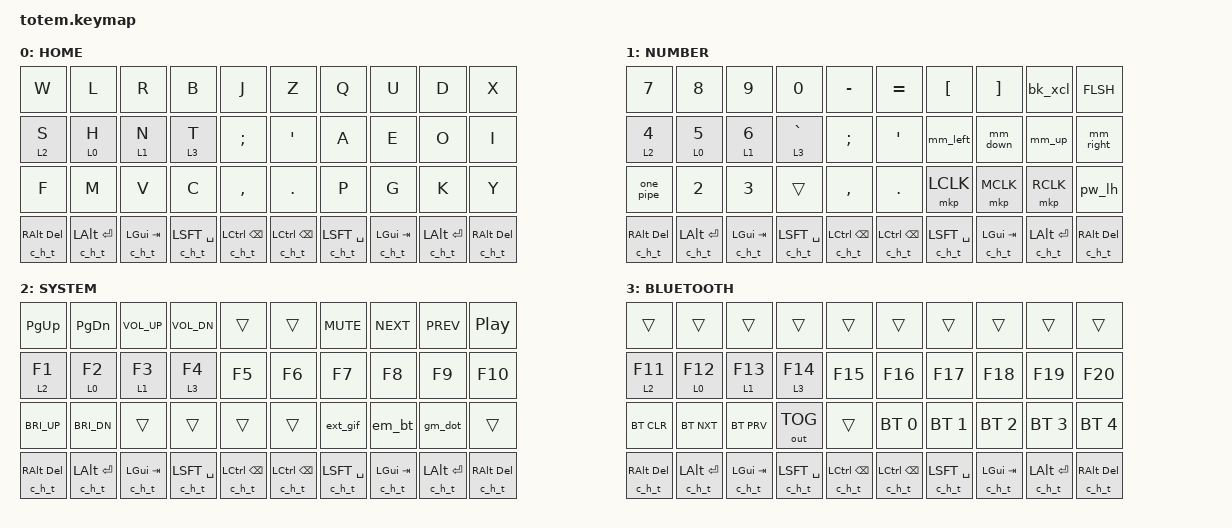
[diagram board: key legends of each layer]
//
//                                                        ▀▀▀▀▀     ▀▀▀▀▀          ▀▀█▀▀
//                                                        ▄▀▀▀▄  ▄  ▄▀▀▀▄  ▄  ▄▀▀▀▄  █  ▄▀▀▀▄
//                                                        █   █  █  █   █  █  █   █  █  █   █
//                                                         ▀▀▀   █   ▀▀▀   █   ▀▀▀   ▀   ▀▀▀
//                                                               █      ▄▄▄█▄▄▄    █   █  
//                                                               ▀      █  █  █     █▄█
//                                                             ▀▀▀▀▀    █  █  █      ▀
//                                                                      ▀  ▀  ▀
//

#include <behaviors.dtsi>
#include <dt-bindings/zmk/keys.h>
#include <dt-bindings/zmk/bt.h>
#include <dt-bindings/zmk/outputs.h>

#define HOME_LAYER 0
#define NUMBER_LAYER 1
#define SYSTEM_LAYER 2
#define BLUETOOTH_LAYER 3



/ {
    combos {
            compatible = "zmk,combos";
            
                
        combo_left_esc {
                timeout-ms = <50>;
                key-positions = <00 01>;
                bindings = <&kp ESC>;
        
            };

        combo_left_sys_reset {
            timeout-ms = <50>;
            key-positions = <00 20>;
            bindings = <&sys_reset>;

            };

        combo_left_bootloader {
            timeout-ms = <50>;
            key-positions = <04 24>;
            bindings = <&bootloader>;
            
            };

        combo_right_bootloader {
            timeout-ms = <50>;
            key-positions = <05 25>;
            bindings = <&bootloader>;
            
            };

        combo_right_sys_reset {
            timeout-ms = <50>;
            key-positions = <09 29>;
            bindings = <&sys_reset>;
        
        };

        combo_right_esc {
            timeout-ms = <50>;
            key-positions = <08 09>;
            bindings = <&kp ESC>;
            };
    };

    macros {
       

        gm_dot: gmail_with_a_dot {
            compatible = "zmk,behavior-macro";
            #binding-cells = <0>;
            wait-ms = <20>;
            tap-ms = <20>;
            bindings = <
                &kp D &kp A &kp V &kp I &kp D &kp DOT &kp L &kp E &kp D &kp G &kp E &kp R &kp W &kp O &kp O &kp D &kp N1 &kp N6 &kp N5
                &kp AT
                &kp G &kp M &kp A &kp I &kp L &kp DOT &kp C &kp O &kp M>;
        };

    
        ext_gif: dot: gif {
            compatible = "zmk,behavior-macro";
            #binding-cells = <0>;
            wait-ms = <20>;
            tap-ms = <20>;
            bindings = <&kp DOT &kp G &kp I &kp F>;
        };

        em_bt: bt_email {
            compatible = "zmk,behavior-macro";
            #binding-cells = <0>;
            wait-ms = <20>;
            tap-ms = <20>;
            bindings = <
                &kp D &kp A &kp V &kp I &kp D &kp L &kp E &kp D &kp G &kp E &kp R &kp W &kp O &kp O &kp D &kp N1 &kp N6 &kp N5
                &kp AT
                &kp B &kp T &kp I &kp N &kp T &kp E &kp R &kp N &kp E &kp T &kp DOT &kp C &kp O &kp M>;
        };

        pw_lh: password_lh {
            compatible = "zmk,behavior-macro";
            #binding-cells = <0>;
            wait-ms = <20>;
            tap-ms = <20>;
            bindings = 
                <&macro_press &kp LSHFT>,
                <&macro_tap &kp L>,
                <&macro_release &kp LSHFT>,
                <&macro_tap &kp I &kp L &kp L &kp Y >,
                <&macro_tap &kp P &kp A &kp S &kp S>,
                <&macro_press &kp LSHFT>,
                <&macro_press &kp N7>,
                <&macro_release &kp LSHFT>,
                <&macro_tap &kp N1 &kp N2 &kp N3 &kp N4>,
                <&macro_press &kp LSHFT>,
                <&macro_tap &kp H>,
                <&macro_release &kp LSHFT>,
                <&macro_tap &kp A &kp R &kp R &kp Y>;
                
        };
    };

    behaviors {
         mm_left: mm_left {
            compatible = "zmk,behavior-mod-morph";
            #binding-cells = <0>;
            bindings = <&mmv MOVE_LEFT>, <&kp LEFT>;
            mods = <(MOD_LSFT|MOD_LCTL)>;
        };
         mm_down: mm_down {
            compatible = "zmk,behavior-mod-morph";
            #binding-cells = <0>;
            bindings = <&mmv MOVE_DOWN>, <&kp DOWN>;
            mods = <(MOD_LSFT|MOD_LCTL)>;
        };
         mm_up: mm_up {
            compatible = "zmk,behavior-mod-morph";
            #binding-cells = <0>;
            bindings = <&mmv MOVE_UP>, <&kp UP>;
            mods = <(MOD_LSFT|MOD_LCTL)>;
        };
         mm_right: mm_right {
            compatible = "zmk,behavior-mod-morph";
            #binding-cells = <0>;
            bindings = <&mmv MOVE_RIGHT>, <&kp RIGHT>;
            mods = <(MOD_LSFT|MOD_LCTL)>;
        };
        t_l_t_kp: toggle_layer_tap_keypress {
                compatible = "zmk,behavior-hold-tap";
                #binding-cells = <2>;
                flavor = "hold-preferred";
                tapping-term-ms =<300>;
                bindings = <&to>, <&kp>;
        };

        c_h_t: custom_hold_tap {
                compatible = "zmk,behavior-hold-tap";
                #binding-cells = <2>;
                flavor = "balanced";
                tapping-term-ms =<170>;
                quick-tap-ms = <100>
                bindings = <&kp>, <&kp>; 
        };

        one_pipe: one_pipe {
                compatible = "zmk,behavior-hold-tap";
                #binding-cells = <0>;
                bindings = <&kp N1>, <&kp PIPE>;
                keep-mods = <0>;
                mods = <(MOD_LSFT)>;
        };

        bk_xcl: backslash_shriek {
                compatible = "zmk,behavior-hold-tap";
                #binding-cells = <0>;
                bindings = <&kp BACKSLASH>, <&kp EXCLAMATION>;
                keep-mods = <0>;
                mods = <(MOD_LSFT)>;
        }
    }

        keymap {
                compatible = "zmk,keymap";

                home_layer {
// ┏━━━━━━━━━━━━━━━━━━━━━━━━━━━━━━━━━━━━━━━┓
label= "HOME"                              ;
// ┗━━━━━━━━━━━━━━━━━━━━━━━━━━━━━━━━━━━━━━━┛
//             ┏━━━━━━━━━━━┳━━━━━━━━━━━┳━━━━━━━━━━━┳━━━━━━━━━━━┳━━━━━━━━━━━┓   ┃      Z    ┃   Q       ┃     U     ┃     D     ┃   X       ┃
//             ┃      W    ┃     L     ┃    R      ┃     B     ┃     J     ┃   ┃      Z    ┃   Q       ┃     U     ┃     D     ┃   X       ┃
//             ┣━━━━━━━━━━━╋━━━━━━━━━━━╋━━━━━━━━━━━╋━━━━━━━━━━━╋━━━━━━━━━━━┫   ┃    APOS   ┃   A       ┃     E     ┃     I     ┃     O     ┃
//             ┃      S    ┃     H     ┃    N      ┃     T     ┃   ;       ┃   ┃    APOS   ┃   A       ┃     E     ┃     I     ┃     O     ┃
// ┏━━━━━━━━━━━╋━━━━━━━━━━━╋━━━━━━━━━━━╋━━━━━━━━━━━╋━━━━━━━━━━━╋━━━━━━━━━━━┫   ┃   .       ┃   P       ┃     G     ┃    K      ┃    Y      ┃           ┃
// ┃           ┃      F    ┃     M     ┃    V      ┃     C     ┃    ,      ┃   ┃   .       ┃   P       ┃     G     ┃    K      ┃    Y      ┃           ┃
// ┗━━━━━━━━━━━┻━━━━━━━━━━━┻━━━━━━━━━━━╋━━━━━━━━━━━╋━━━━━━━━━━━╋━━━━━━━━━━━┫   ┃  RGUI BSP ┃RSHFT SPACE┃ LCTRL TAB ┃ALT RET     sys_reset
//               sys_reset   ALT RET   ┃ LCTRL TAB ┃RSHFT SPACE┃ RGUI BSP  ┃   ┃  RGUI BSP ┃RSHFT SPACE┃ LCTRL TAB ┃ALT RET     sys_reset
//                                   ┗━━━━━━━━━━━┻━━━━━━━━━━━┻━━━━━━━━━━━┛   ┗━━━━━━━━━━━┻━━━━━━━━━━━┻━━━━━━━━━━━┛
 bindings = <
// ╷           ╷             ╷             ╷               ╷                 ╷           ╷     ╷             ╷               ╷             ╷             ╷           ╷

                &kp W            &kp L            &kp R            &kp B              &kp J              &kp Z              &kp Q              &kp U            &kp D            &kp X
                &t_l_t_kp 2 S    &t_l_t_kp 0 H    &t_l_t_kp 1 N    &t_l_t_kp 3 T      &kp SEMI           &kp APOS           &kp A              &kp E            &kp O            &kp I  
                &kp F            &kp M            &kp  V           &kp C              &kp COMMA          &kp DOT            &kp P              &kp G            &kp K            &kp Y
                &c_h_t RALT DEL  &c_h_t LALT RET  &c_h_t LGUI TAB  &c_h_t LSFT SPACE  &c_h_t LCTRL BSPC  &c_h_t LCTRL BSPC  &c_h_t LSFT SPACE  &c_h_t LGUI TAB  &c_h_t LALT RET  &c_h_t RALT DEL   
                          >;
                };

// ▄▄▄▄▄▄▄▄▄▄▄▄▄▄▄▄▄▄▄▄▄▄▄▄▄▄▄▄▄▄▄▄▄▄▄▄▄▄▄▄▄▄▄▄▄▄▄▄▄▄▄▄▄▄▄▄▄▄▄▄▄▄▄▄▄▄▄▄▄▄▄▄▄▄▄▄▄▄▄▄▄▄▄▄▄▄▄▄▄▄▄▄▄▄▄▄


                number_layer {
// ┏━━━━━━━━━━━━━━━━━━━━━━━━━━━━━━━━━━━━━━━┓
label= "NUMBER"                              ;
// ┗━━━━━━━━━━━━━━━━━━━━━━━━━━━━━━━━━━━━━━━┛
//             ┏━━━━━━━━━━━┳━━━━━━━━━━━┳━━━━━━━━━━━┳━━━━━━━━━━━┳━━━━━━━━━━━┓   ┃   trans   ┃    BKT    ┃   RBKT    ┃   BSLH    ┃   FLSH    ┃
//             ┃     7     ┃     8     ┃     9     ┃    0      ┃   trans   ┃   ┃   trans   ┃    BKT    ┃   RBKT    ┃   BSLH    ┃   FLSH    ┃
//             ┣━━━━━━━━━━━╋━━━━━━━━━━━╋━━━━━━━━━━━╋━━━━━━━━━━━╋━━━━━━━━━━━┫   ┃   trans   ┃   LEFT    ┃    UP     ┃    DN     ┃   RIGHT   ┃
//             ┃     4     ┃     5     ┃     6     ┃btooth/grave ┃ trans   ┃   ┃   trans   ┃   LEFT    ┃    UP     ┃    DN     ┃   RIGHT   ┃
// ┏━━━━━━━━━━━╋━━━━━━━━━━━╋━━━━━━━━━━━╋━━━━━━━━━━━╋━━━━━━━━━━━╋━━━━━━━━━━━┫   ┃   trans   ┃   EQUAL   ┃   MINUS   ┃     &gif  ┃    ESC    ┃           ┃
// ┃           ┃     1     ┃     2     ┃     3     ┃   trans   ┃   trans   ┃   ┃   trans   ┃   EQUAL   ┃   MINUS   ┃     &gif  ┃    ESC    ┃           ┃
// ┗━━━━━━━━━━━┻━━━━━━━━━━━┻━━━━━━━━━━━╋━━━━━━━━━━━╋━━━━━━━━━━━╋━━━━━━━━━━━┫   ┃   trans   ┃   trans   ┃   trans   ┃   trans      trans
//                 trans      trans    ┃   trans   ┃   trans   ┃   trans   ┃   ┃   trans   ┃   trans   ┃   trans   ┃   trans      trans
//                                     ┗━━━━━━━━━━━┻━━━━━━━━━━━┻━━━━━━━━━━━┛   ┗━━━━━━━━━━━┻━━━━━━━━━━━┻━━━━━━━━━━━┛
 bindings = <
// ╷           ╷             ╷            ╷              ╷                    ╷      ╷  ╷          ╷          ╷          ╷           ╷           ╷

                &kp N7          &kp N8           &kp N9           &kp N0              &kp MINUS         &kp EQUAL         &kp LBKT          &kp RBKT         &bk_xcl           &kp FLSH 
                &t_l_t_kp 2 N4  &t_l_t_kp 0 N5   &t_l_t_kp 1 N6   &t_l_t_kp 3 GRAVE   &kp SEMI          &kp APOS          &mm_left          &mm_down         &mm_up            &mm_right  
                &one_pipe       &kp N2           &kp N3           &trans              &kp COMMA         &kp DOT           &mkp LCLK         &mkp MCLK        &mkp RCLK         &pw_lh             
                &c_h_t RALT DEL &c_h_t LALT RET  &c_h_t LGUI TAB  &c_h_t LSFT SPACE   &c_h_t LCTRL BSPC &c_h_t LCTRL BSPC &c_h_t LSFT SPACE &c_h_t LGUI TAB  &c_h_t LALT RET   &c_h_t RALT DEL       
                          >;
                };

// ▄▄▄▄▄▄▄▄▄▄▄▄▄▄▄▄▄▄▄▄▄▄▄▄▄▄▄▄▄▄▄▄▄▄▄▄▄▄▄▄▄▄▄▄▄▄▄▄▄▄▄▄▄▄▄▄▄▄▄▄▄▄▄▄▄▄▄▄▄▄▄▄▄▄▄▄▄▄▄▄▄▄▄▄▄▄▄▄▄▄▄▄▄▄▄▄


                system_layer {
// ┏━━━━━━━━━━━━━━━━━━━━━━━━━━━━━━━━━━━━━━━┓
label= "SYSTEM"                               ;
// ┗━━━━━━━━━━━━━━━━━━━━━━━━━━━━━━━━━━━━━━━┛
//             ┏━━━━━━━━━━━┳━━━━━━━━━━━┳━━━━━━━━━━━┳━━━━━━━━━━━┳━━━━━━━━━━━┓   ┃&trans┃ &kpC_MUTE ┃&kp C_VOL_DN┃ &kp C_VOL_UP ┃ &trans
//             ┃ &kp PG UP ┃ &kp PG DN ┃   &trans  ┃       &trans        &trans  ┃  ┃&trans┃ &kpC_MUTE ┃&kp C_VOL_DN┃ &kp C_VOL_UP ┃ &trans
//             ┣━━━━━━━━━━━╋━━━━━━━━━━━╋━━━━━━━━━━━╋━━━━━━━━━━━╋━━━━━━━━━━━┫   ┃&kp F6┃    &kp F7 ┃   &kp F8  ┃  &kp F9   ┃  &kp F10  ┃
//             ┃ SYSTEM F1 ┃  HOME F2  ┃ NUMBER F3 ┃&lt BLUETOOTH  F4    &kp F5  ┃  ┃&kp F6┃    &kp F7 ┃   &kp F8  ┃  &kp F9   ┃  &kp F10  ┃
// ┏━━━━━━━━━━━╋━━━━━━━━━━━╋━━━━━━━━━━━╋━━━━━━━━━━━╋━━━━━━━━━━━╋━━━━━━━━━━━┫   ┃&trans┃  &trans   ┃  &trans   ┃  &trans   ┃    ESC    ┃           ┃
// ┃           ┃kp C_BRI_UP┃C_BRI_DN   ┃ &trans    ┃       &trans        &trans  ┃  ┃&trans┃  &trans   ┃  &trans   ┃  &trans   ┃    ESC    ┃           ┃
// ┗━━━━━━━━━━━┻━━━━━━━━━━━┻━━━━━━━━━━━╋━━━━━━━━━━━╋━━━━━━━━━━━╋━━━━━━━━━━━┫   ┃trans ┃   &trans  ┃   &trans  ┃&trans        &trans
//                 &trans     &trans   ┃   &trans  ┃        &trans       &trans  ┃  ┃trans ┃   &trans  ┃   &trans  ┃&trans        &trans
//                                     ┗━━━━━━━━━━━┻━━━━━━━━━━━┻━━━━━━━━━━━┛   ┗━━━━━━━━━━━┻━━━━━━━━━━━┻━━━━━━━━━━━┛
 bindings = <
// ╷           ╷              ╷             ╷              ╷                   ╷        ╷   ╷           ╷              ╷             ╷             ╷           ╷           ╷

                &kp PG_UP        &kp PG_DN        &kp C_VOL_UP     &kp C_VOL_DN        &trans             &trans             &kp C_MUTE         &kp C_NEXT       &kp C_PREV       &kp C_PP      
                &t_l_t_kp 2 F1   &t_l_t_kp 0 F2   &t_l_t_kp 1 F3   &t_l_t_kp 3 F4      &kp F5             &kp F6             &kp F7             &kp F8           &kp F9           &kp F10
                &kp C_BRI_UP     &kp C_BRI_DN     &trans           &trans              &trans             &trans             &ext_gif           &em_bt           &gm_dot          &trans            
                &c_h_t RALT DEL  &c_h_t LALT RET  &c_h_t LGUI TAB  &c_h_t LSFT SPACE   &c_h_t LCTRL BSPC  &c_h_t LCTRL BSPC  &c_h_t LSFT SPACE  &c_h_t LGUI TAB  &c_h_t LALT RET  &c_h_t RALT DEL
                     >;
                };

// ▄▄▄▄▄▄▄▄▄▄▄▄▄▄▄▄▄▄▄▄▄▄▄▄▄▄▄▄▄▄▄▄▄▄▄▄▄▄▄▄▄▄▄▄▄▄▄▄▄▄▄▄▄▄▄▄▄▄▄▄▄▄▄▄▄▄▄▄▄▄▄▄▄▄▄▄▄▄▄▄▄▄▄▄▄▄▄▄▄▄▄▄▄▄▄▄


                bluetooth_layer {
// ┏━━━━━━━━━━━━━━━━━━━━━━━━━━━━━━━━━━━━━━━┓
label= "BLUETOOTH"                               ;
// ┗━━━━━━━━━━━━━━━━━━━━━━━━━━━━━━━━━━━━━━━┛
//             ┏━━━━━━━━━━━┳━━━━━━━━━━━┳━━━━━━━━━━━┳━━━━━━━━━━━┳━━━━━━━━━━━┓   ┃    &trans  ┃   &trans   ┃   &trans   ┃   &trans   ┃   &trans   ┃
//             ┃   &trans  ┃  &trans   ┃   &trans  ┃  &trans   ┃   &trans  ┃   ┃    &trans  ┃   &trans   ┃   &trans   ┃   &trans   ┃   &trans   ┃
//             ┣━━━━━━━━━━━╋━━━━━━━━━━━╋━━━━━━━━━━━╋━━━━━━━━━━━╋━━━━━━━━━━━┫   ┃  &kp F16   ┃  &kp F17   ┃  &kp F18   ┃  &kp F19   ┃   &kp F20  ┃
//             ┃SYSTEM F11 ┃  HOME F12 ┃ NUMBER F13┃ BTOOTH F14┃  &kp F15  ┃   ┃  &kp F16   ┃  &kp F17   ┃  &kp F18   ┃  &kp F19   ┃   &kp F20  ┃
// ┏━━━━━━━━━━━╋━━━━━━━━━━━╋━━━━━━━━━━━╋━━━━━━━━━━━╋━━━━━━━━━━━╋━━━━━━━━━━━┫   ┃&bt BT_SEL 0┃&bt BT_SEL 1┃&bt BT_SEL 2┃&bt BT_SEL 3┃&bt BT_SEL 4┃          ┃
// ┃           ┃ &kp BT_CLR┃  BT_NXT   ┃&kp BT_PRV ┃  OUT_TOG  ┃   trans   ┃   ┃&bt BT_SEL 0┃&bt BT_SEL 1┃&bt BT_SEL 2┃&bt BT_SEL 3┃&bt BT_SEL 4┃          ┃
// ┗━━━━━━━━━━━┻━━━━━━━━━━━┻━━━━━━━━━━━╋━━━━━━━━━━━╋━━━━━━━━━━━╋━━━━━━━━━━━┫   ┃   &trans   ┃   &trans   ┃   &trans   ┃   &trans       &trans 
//                 &trans     &trans   ┃   &trans  ┃   &trans  ┃   &trans  ┃   ┃   &trans   ┃   &trans   ┃   &trans   ┃   &trans       &trans 
//                                     ┗━━━━━━━━━━━┻━━━━━━━━━━━┻━━━━━━━━━━━┛   ┗━━━━━━━━━━━┻━━━━━━━━━━━┻━━━━━━━━━━━┛
 bindings = <
// ╷           ╷               ╷            ╷               ╷                   ╷        ╷   ╷            ╷            ╷            ╷            ╷           ╷           ╷

                &trans           &trans           &trans           &trans             &trans             &trans             &trans             &trans             &trans            &trans
                &t_l_t_kp 2 F11  &t_l_t_kp 0 F12  &t_l_t_kp 1 F13  &t_l_t_kp 3 F14    &kp F15            &kp F16            &kp F17            &kp F18            &kp F19           &kp F20
                &bt BT_CLR       &bt BT_NXT       &bt BT_PRV       &out OUT_TOG       &trans             &bt BT_SEL 0       &bt BT_SEL 1       &bt BT_SEL 2       &bt BT_SEL 3      &bt BT_SEL 4           
                &c_h_t RALT DEL  &c_h_t LALT RET  &c_h_t LGUI TAB  &c_h_t LSFT SPACE  &c_h_t LCTRL BSPC  &c_h_t LCTRL BSPC  &c_h_t LSFT SPACE  &c_h_t LGUI TAB    &c_h_t LALT RET   &c_h_t RALT DEL
                         >;
                };
        };
};
